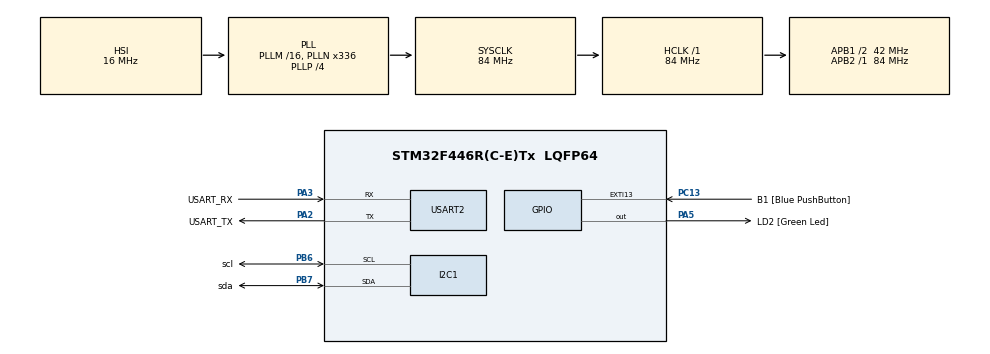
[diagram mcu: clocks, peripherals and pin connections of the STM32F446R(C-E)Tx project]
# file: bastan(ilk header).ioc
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Mcu.Family=STM32F4
Mcu.Name=STM32F446R(C-E)Tx
Mcu.Package=LQFP64
NVIC.PriorityGroup=NVIC_PRIORITYGROUP_0
NVIC.USART2_IRQn=true\:0\:0\:false\:false\:true\:true\:true\:true
PA13.GPIO_Label=TMS
PA13.Mode=Serial_Wire
PA13.Signal=SYS_JTMS-SWDIO
PA14.GPIO_Label=TCK
PA14.Mode=Serial_Wire
PA14.Signal=SYS_JTCK-SWCLK
PA2.GPIO_Label=USART_TX
PA2.Mode=Asynchronous
PA2.Signal=USART2_TX
PA3.GPIO_Label=USART_RX
PA3.Mode=Asynchronous
PA3.Signal=USART2_RX
PA5.GPIO_Label=LD2 [Green Led]
PA5.Signal=GPIO_Output
PB3.GPIO_Label=SWO
PB3.Signal=SYS_JTDO-SWO
PB6.GPIO_Label=scl
PB6.Mode=I2C
PB6.Signal=I2C1_SCL
PB7.GPIO_Label=sda
PB7.Mode=I2C
PB7.Signal=I2C1_SDA
PC13.GPIO_Label=B1 [Blue PushButton]
PC13.GPIO_ModeDefaultEXTI=GPIO_MODE_IT_FALLING
PC13.Signal=GPXTI13
PC14-OSC32_IN.Mode=LSE-External-Oscillator
PC14-OSC32_IN.Signal=RCC_OSC32_IN
PC15-OSC32_OUT.Mode=LSE-External-Oscillator
PC15-OSC32_OUT.Signal=RCC_OSC32_OUT
PH0-OSC_IN.Mode=HSE-External-Oscillator
PH0-OSC_IN.Signal=RCC_OSC_IN
PH1-OSC_OUT.Mode=HSE-External-Oscillator
PH1-OSC_OUT.Signal=RCC_OSC_OUT
ProjectManager.HeapSize=0x200
ProjectManager.StackSize=0x400
ProjectManager.TargetToolchain=STM32CubeIDE
RCC.48MHZClocksFreq_Value=84000000
RCC.AHBFreq_Value=84000000
RCC.APB1CLKDivider=RCC_HCLK_DIV2
RCC.APB1Freq_Value=42000000
RCC.APB1TimFreq_Value=84000000
RCC.APB2Freq_Value=84000000
RCC.APB2TimFreq_Value=84000000
RCC.CortexFreq_Value=84000000
RCC.FLatency-AdvancedSettings=FLASH_LATENCY_2
RCC.HCLKFreq_Value=84000000
RCC.HSE_VALUE=8000000
RCC.HSI_VALUE=16000000
RCC.PLLN=336
RCC.PLLP=RCC_PLLP_DIV4
RCC.SYSCLKFreq_VALUE=84000000
RCC.SYSCLKSource=RCC_SYSCLKSOURCE_PLLCLK
RCC.USBFreq_Value=168000000
RCC.VCOOutputFreq_Value=336000000
USART2.VirtualMode=VM_ASYNC
board=NUCLEO-F446RE

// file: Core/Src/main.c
/*
*
*        ^
*       /^\\
*      /___\\         YILDIZ ROKET TAKIMI
*     |=   =|
*     |     |        Olusturulma Tarihi: 2025-04-14 17:40:31
*     |     |        Tarih             : 2025-05-15 01:47:49
*     |     |
*    /|##!##|\\
*   / |##!##| \\
*  /  |##!##|  \\
* |  / ^ | ^ \  |                                       YILDIZDAN
* | /  ( | )  \ |
* |/   ( | )   \|                                                                YILDIZLARA
*     ((   ))
*    ((  :  ))
*    ((  :  ))
*     ((   ))
*      (( ))
*       ( )
*        .
*      .. ..
*    .........
* ... ...... ....
* ************************************************************************************
*/

/* USER CODE BEGIN Header */
/**
  ******************************************************************************
  * @file           : main.c
  * @brief          : Main program body
  ******************************************************************************
  * @attention
  *
  * Copyright (c) 2025 STMicroelectronics.
  * All rights reserved.
  *
  * This software is licensed under terms that can be found in the LICENSE file
  * in the root directory of this software component.
  * If no LICENSE file comes with this software, it is provided AS-IS.
  *
  ******************************************************************************
  */
/* USER CODE END Header */
#include "main.h"

I2C_HandleTypeDef hi2c1;
UART_HandleTypeDef huart2;

void SystemClock_Config(void);
static void MX_GPIO_Init(void);
static void MX_USART2_UART_Init(void);
static void MX_I2C1_Init(void);

/* USER CODE BEGIN 0 */

uint8_t Temp=0;
uint8_t datatowrite = 0x2E;
uint8_t temprtr1[2]={0};
uint8_t tmprtr2[22];
uint16_t Callib_Start = 0xAA;
short AC1;
short AC2;
short AC3;
unsigned short AC4;
unsigned short AC5;
unsigned short AC6;
short B1;
short B2;
short MB;
short MC;
short MD;

long UT;

uint8_t datatowriteBP=0x34+(1<<6);
uint8_t BP1[3]={0};
long UP;
long X1,X2,B5,T;
long B6,X3,B3;
unsigned long B4,B7;
float p;
float p1;
long altitude;
float k;
char buffer[140];

float *basinc = &p;
long *yukseklik = &altitude;
long *sicaklik = &T;

/* USER CODE END 0 */

int main(void)
{

  /* MCU Configuration--------------------------------------------------------*/

  /* Reset of all peripherals, Initializes the Flash interface and the Systick. */
  HAL_Init();

  /* Configure the system clock */
  SystemClock_Config();

  /* Initialize all configured peripherals */
  MX_GPIO_Init();
  MX_USART2_UART_Init();
  MX_I2C1_Init();
  /* USER CODE BEGIN 2 */
  void okuma();
  void yazma();
  HAL_StatusTypeDef ret = HAL_I2C_IsDeviceReady(&hi2c1, 0xEE, 1, 100);

  HAL_I2C_Mem_Read(&hi2c1,0xEF,Callib_Start,1,&tmprtr2,22,100);

      		  	AC1 = ((tmprtr2[0] << 8) | tmprtr2[1]);
      		    AC2 = ((tmprtr2[2] << 8) | tmprtr2[3]);
      		  	AC3 = ((tmprtr2[4] << 8) | tmprtr2[5]);
      		  	AC4 = ((tmprtr2[6] << 8) | tmprtr2[7]);
      		  	AC5 = ((tmprtr2[8] << 8) | tmprtr2[9]);
      		  	AC6 = ((tmprtr2[10] << 8) | tmprtr2[11]);
      		  	B1 = ((tmprtr2[12] << 8) | tmprtr2[13]);
      		  	B2 = ((tmprtr2[14] << 8) | tmprtr2[15]);
      		  	MB = ((tmprtr2[16] << 8) | tmprtr2[17]);
      		  	MC = ((tmprtr2[18] << 8) | tmprtr2[19]);
      		  	MD = ((tmprtr2[20] << 8) | tmprtr2[21]);

  //	HAL_StatusTypeDef ret1= HAL_I2C_Mem_Read(&hi2c1, 0xEF, 0xD0, 1, &Temp, 1, 1000);
  //
  //	HAL_I2C_Mem_Read(&hi2c1,0XEF, 0XF6,1,&tmprtr,2,1000);

    	//01 01 01 01 01 01 01 01

  /* USER CODE END 2 */

  /* Infinite loop */
  while (1)
  {

	  okuma();

	  yazma();

  }
}

void SystemClock_Config(void)
{
  RCC_OscInitTypeDef RCC_OscInitStruct = {0};
  RCC_ClkInitTypeDef RCC_ClkInitStruct = {0};

  /** Configure the main internal regulator output voltage
  */
  __HAL_RCC_PWR_CLK_ENABLE();
  __HAL_PWR_VOLTAGESCALING_CONFIG(PWR_REGULATOR_VOLTAGE_SCALE3);

  /** Initializes the RCC Oscillators according to the specified parameters
  * in the RCC_OscInitTypeDef structure.
  */
  RCC_OscInitStruct.OscillatorType = RCC_OSCILLATORTYPE_HSI;
  RCC_OscInitStruct.HSIState = RCC_HSI_ON;
  RCC_OscInitStruct.HSICalibrationValue = RCC_HSICALIBRATION_DEFAULT;
  RCC_OscInitStruct.PLL.PLLState = RCC_PLL_ON;
  RCC_OscInitStruct.PLL.PLLSource = RCC_PLLSOURCE_HSI;
  RCC_OscInitStruct.PLL.PLLM = 16;
  RCC_OscInitStruct.PLL.PLLN = 336;
  RCC_OscInitStruct.PLL.PLLP = RCC_PLLP_DIV4;
  RCC_OscInitStruct.PLL.PLLQ = 2;
  RCC_OscInitStruct.PLL.PLLR = 2;
  if (HAL_RCC_OscConfig(&RCC_OscInitStruct) != HAL_OK)
  {
    Error_Handler();
  }

  /** Initializes the CPU, AHB and APB buses clocks
  */
  RCC_ClkInitStruct.ClockType = RCC_CLOCKTYPE_HCLK|RCC_CLOCKTYPE_SYSCLK
                              |RCC_CLOCKTYPE_PCLK1|RCC_CLOCKTYPE_PCLK2;
  RCC_ClkInitStruct.SYSCLKSource = RCC_SYSCLKSOURCE_PLLCLK;
  RCC_ClkInitStruct.AHBCLKDivider = RCC_SYSCLK_DIV1;
  RCC_ClkInitStruct.APB1CLKDivider = RCC_HCLK_DIV2;
  RCC_ClkInitStruct.APB2CLKDivider = RCC_HCLK_DIV1;

  if (HAL_RCC_ClockConfig(&RCC_ClkInitStruct, FLASH_LATENCY_2) != HAL_OK)
  {
    Error_Handler();
  }
}

static void MX_I2C1_Init(void)
{

  hi2c1.Instance = I2C1;
  hi2c1.Init.ClockSpeed = 100000;
  hi2c1.Init.DutyCycle = I2C_DUTYCYCLE_2;
  hi2c1.Init.OwnAddress1 = 0;
  hi2c1.Init.AddressingMode = I2C_ADDRESSINGMODE_7BIT;
  hi2c1.Init.DualAddressMode = I2C_DUALADDRESS_DISABLE;
  hi2c1.Init.OwnAddress2 = 0;
  hi2c1.Init.GeneralCallMode = I2C_GENERALCALL_DISABLE;
  hi2c1.Init.NoStretchMode = I2C_NOSTRETCH_DISABLE;
  if (HAL_I2C_Init(&hi2c1) != HAL_OK)
  {
    Error_Handler();
  }

}

static void MX_USART2_UART_Init(void)
{

  huart2.Instance = USART2;
  huart2.Init.BaudRate = 115200;
  huart2.Init.WordLength = UART_WORDLENGTH_8B;
  huart2.Init.StopBits = UART_STOPBITS_1;
  huart2.Init.Parity = UART_PARITY_NONE;
  huart2.Init.Mode = UART_MODE_TX_RX;
  huart2.Init.HwFlowCtl = UART_HWCONTROL_NONE;
  huart2.Init.OverSampling = UART_OVERSAMPLING_16;
  if (HAL_UART_Init(&huart2) != HAL_OK)
  {
    Error_Handler();
  }

}

static void MX_GPIO_Init(void)
{
  GPIO_InitTypeDef GPIO_InitStruct = {0};

  /* GPIO Ports Clock Enable */
  __HAL_RCC_GPIOC_CLK_ENABLE();
  __HAL_RCC_GPIOH_CLK_ENABLE();
  __HAL_RCC_GPIOA_CLK_ENABLE();
  __HAL_RCC_GPIOB_CLK_ENABLE();

  /*Configure GPIO pin Output Level */
  HAL_GPIO_WritePin(LD2_GPIO_Port, LD2_Pin, GPIO_PIN_RESET);

  /*Configure GPIO pin : B1_Pin */
  GPIO_InitStruct.Pin = B1_Pin;
  GPIO_InitStruct.Mode = GPIO_MODE_IT_FALLING;
  GPIO_InitStruct.Pull = GPIO_NOPULL;
  HAL_GPIO_Init(B1_GPIO_Port, &GPIO_InitStruct);

  /*Configure GPIO pin : LD2_Pin */
  GPIO_InitStruct.Pin = LD2_Pin;
  GPIO_InitStruct.Mode = GPIO_MODE_OUTPUT_PP;
  GPIO_InitStruct.Pull = GPIO_NOPULL;
  GPIO_InitStruct.Speed = GPIO_SPEED_FREQ_LOW;
  HAL_GPIO_Init(LD2_GPIO_Port, &GPIO_InitStruct);

}

/* USER CODE BEGIN 4 */

void okuma(){

	HAL_I2C_Mem_Write(&hi2c1, 0xEF, 0xF4, 1, &datatowrite, 1, 100);
			HAL_Delay (5);
		  	HAL_I2C_Mem_Read(&hi2c1,0XEF, 0XF6,1,&temprtr1,2,100);

			  	UT = ((temprtr1[0]<<8) + temprtr1[1]);
			  	HAL_Delay(5);

			  	HAL_I2C_Mem_Write(&hi2c1, 0xEF, 0XF4, 1, &datatowriteBP, 1, 100);
			  	HAL_Delay (5);
			  	HAL_I2C_Mem_Read(&hi2c1, 0xEF,0xF6 , 1, &BP1, 3, 100);//F6/F7/F8
			  	HAL_Delay (8);
			  	UP=((BP1[0]<<16)+(BP1[1]<<8)+BP1[2])>>(8-1);

			  	X1 = ((UT-AC6)*AC5)/pow(2,15);
			  	X2=MC*pow(2,11)/(X1+MD);
			  	B5=X1+X2;
			  	T=(B5+8)/pow(2,4)/10;

			  	HAL_Delay(5);
			  	B6 = B5-4000;
			  	X1 = (B2 * (B6*B6/(pow(2,12))))/(pow(2,11));
			  	X2 = AC2*B6/(pow(2,11));
			  	X3 = X1+X2;
			  	B3 = (((AC1*4+X3)<<1)+2)/4;
			  	X1 = AC3*B6/pow(2,13);
			  	X2 = (B1 * (B6*B6/(pow(2,12))))/(pow(2,16));
			  	X3 = ((X1+X2)+2)/pow(2,2);
			  	B4 = AC4*(unsigned long)(X3+32768)/(pow(2,15));
			  	B7 = ((unsigned long)UP-B3)*(50000>>1);
			  	if (B7<0x80000000){p = (B7*2)/B4;}
			  		else p = (B7/B4)*2;
			  	HAL_Delay(5);
			  	X1=(p/(pow(2,8))*p/(pow(2,8)));
			  	X1=X1*3038/pow(2,16);
			  	X2=(-7357*p)/pow(2,16);
			  	HAL_Delay(5);
			  	p=p+((X1+X2+3791)/pow(2,4));

			  	p1=p/101325;
			  	HAL_Delay(5);
			  	k=pow(p1,0.19029);
			  	altitude=44330*(1-k);
			  	printf("z");
			  	*sicaklik = T;
			  	*yukseklik = altitude;
			  	*basinc = p;

}

	void yazma(){

	  	snprintf(buffer,sizeof(buffer),"sicaklik : %ld, yukseklik : %ld , basinc : %.2f\r\n",T,altitude,p);

	  	HAL_UART_Transmit(&huart2, buffer, sizeof(buffer), 100);

	  	HAL_Delay(60);

	}

/* USER CODE END 4 */

void Error_Handler(void)
{
  __disable_irq();
  while (1)
  {
  }
}
